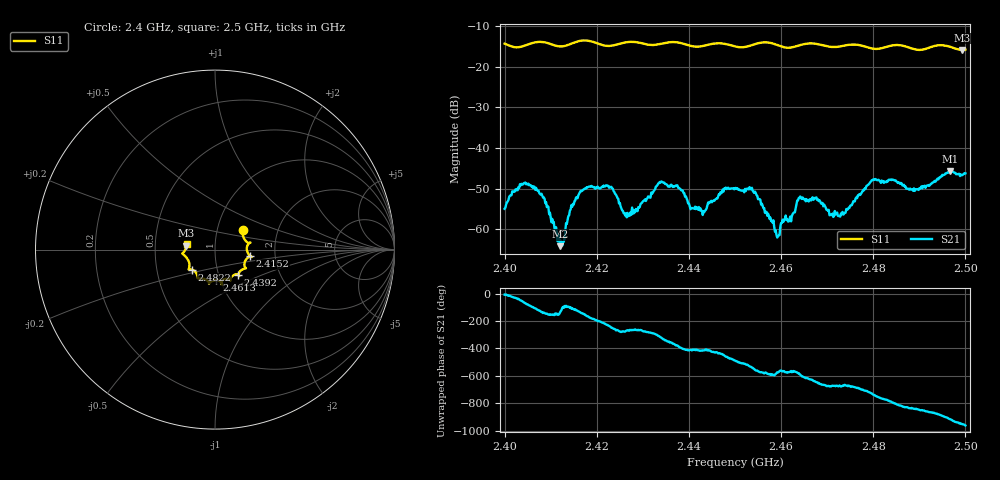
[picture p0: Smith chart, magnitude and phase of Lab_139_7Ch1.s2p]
# Hz S RI R 50
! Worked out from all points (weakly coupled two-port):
!   601 points, 2.4 GHz to 2.5 GHz, reference 50 ohm
!   highest |S21| = -45.70 dB at 2.4967 GHz (marker M1); lowest = -64.1 dB at 2.412 GHz (marker M2)
!   lowest |S11| = -15.9 dB at 2.4993 GHz (marker M3), VSWR 1.38, Z = 36.3 + j1.59 ohm
!   |S11| at or under -10 dB: start of sweep to end of sweep
!   S12 and S22 are empty: the file has one direction only
!   S11 on the Smith chart (normalised r, x): 2.4 GHz: 1.33, +0.31; 2.4152 GHz: 1.48, -0.11; 2.4392 GHz: 1.23, -0.36; 2.4613 GHz: 0.96, -0.34; 2.4822 GHz: 0.76, -0.17; 2.5 GHz: 0.72, +0.05
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2.4e9  0.1561 0.111  0.00178 -0.000221  0 0  0 0
2.406e9  0.1912 0.0368  -0.000433 -0.00338  0 0  0 0
2.412e9  0.177 0.00663  -0.000473 -0.000404  0 0  0 0
2.415167e9  0.1949 -0.0354  -0.00104 -0.00196  0 0  0 0
2.416667e9  0.2045 -0.0416  -0.00232 -0.00181  0 0  0 0
2.422667e9  0.1659 -0.068  -0.00186 0.00266  0 0  0 0
2.426667e9  0.1712 -0.1032  -8.89e-05 0.00159  0 0  0 0
2.433333e9  0.1332 -0.1326  0.00225 0.00288  0 0  0 0
2.439167e9  0.127 -0.1389  0.00165 -0.00191  0 0  0 0
2.443167e9  0.0893 -0.1563  0.000985 -0.00134  0 0  0 0
2.45e9  0.0685 -0.1636  -0.002 -0.00251  0 0  0 0
2.454167e9  0.0347 -0.1845  -0.00276 0.000523  0 0  0 0
2.459167e9  0.0329 -0.1813  -0.000652 0.000452  0 0  0 0
2.461333e9  0.00779 -0.1705  -0.00105 0.00081  0 0  0 0
2.466667e9  -0.0331 -0.1901  -2.26e-05 0.00238  0 0  0 0
2.472833e9  -0.0753 -0.1604  0.00101 0.00102  0 0  0 0
2.482167e9  -0.1283 -0.1121  0.00258 -0.00295  0 0  0 0
2.483333e9  -0.1394 -0.1104  0.00184 -0.00362  0 0  0 0
2.4895e9  -0.1441 -0.0719  -0.00176 -0.00257  0 0  0 0
2.496667e9  -0.1749 -0.0143  -0.00497 0.0015  0 0  0 0
2.499333e9  -0.1589 0.0214  -0.00271 0.00375  0 0  0 0
2.5e9  -0.1585 0.0336  -0.00222 0.00434  0 0  0 0
